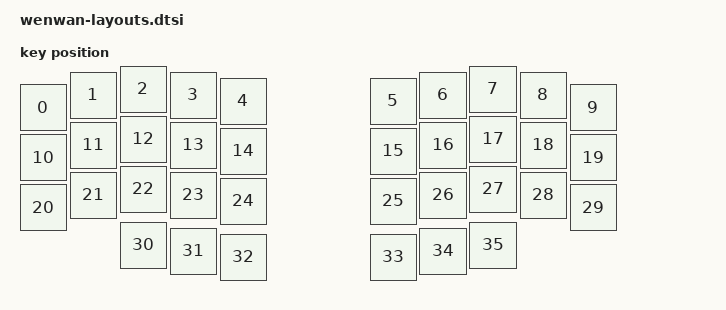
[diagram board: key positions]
// See https://zmk.dev/docs/development/hardware-integration/physical-layouts
// for how to configure this.

#include <physical_layouts.dtsi>

/ {
    default_layout: default_layout {
        compatible = "zmk,physical-layout";
        display-name = "Default Layout";
        transform = <&default_transform>;
        kscan = <&kscan0>;

        /*
         * wenwan 36键布局: 3x5 + 3拇指键 x 两侧
         * 单位: 0.01u (100 = 1u)
         *
         * |  Q  |  W  |  E  |  R  |  T  |   |  Y  |  U  |  I  |  O  |  P  |
         * |  A  |  S  |  D  |  F  |  G  |   |  H  |  J  |  K  |  L  |  ;  |
         * |  Z  |  X  |  C  |  V  |  B  |   |  N  |  M  |  ,  |  .  |  /  |
         *             | ESC | SPC | TAB |   | ENT | BSP | DEL |
         */
        keys  //                     w   h    x    y     rot    rx    ry
            // 左手第1行
            = <&key_physical_attrs 100 100    0   37       0     0     0>
            , <&key_physical_attrs 100 100  100   12       0     0     0>
            , <&key_physical_attrs 100 100  200    0       0     0     0>
            , <&key_physical_attrs 100 100  300   12       0     0     0>
            , <&key_physical_attrs 100 100  400   24       0     0     0>
            // 右手第1行
            , <&key_physical_attrs 100 100  700   24       0     0     0>
            , <&key_physical_attrs 100 100  800   12       0     0     0>
            , <&key_physical_attrs 100 100  900    0       0     0     0>
            , <&key_physical_attrs 100 100 1000   12       0     0     0>
            , <&key_physical_attrs 100 100 1100   37       0     0     0>
            // 左手第2行
            , <&key_physical_attrs 100 100    0  137       0     0     0>
            , <&key_physical_attrs 100 100  100  112       0     0     0>
            , <&key_physical_attrs 100 100  200  100       0     0     0>
            , <&key_physical_attrs 100 100  300  112       0     0     0>
            , <&key_physical_attrs 100 100  400  124       0     0     0>
            // 右手第2行
            , <&key_physical_attrs 100 100  700  124       0     0     0>
            , <&key_physical_attrs 100 100  800  112       0     0     0>
            , <&key_physical_attrs 100 100  900  100       0     0     0>
            , <&key_physical_attrs 100 100 1000  112       0     0     0>
            , <&key_physical_attrs 100 100 1100  137       0     0     0>
            // 左手第3行
            , <&key_physical_attrs 100 100    0  237       0     0     0>
            , <&key_physical_attrs 100 100  100  212       0     0     0>
            , <&key_physical_attrs 100 100  200  200       0     0     0>
            , <&key_physical_attrs 100 100  300  212       0     0     0>
            , <&key_physical_attrs 100 100  400  224       0     0     0>
            // 右手第3行
            , <&key_physical_attrs 100 100  700  224       0     0     0>
            , <&key_physical_attrs 100 100  800  212       0     0     0>
            , <&key_physical_attrs 100 100  900  200       0     0     0>
            , <&key_physical_attrs 100 100 1000  212       0     0     0>
            , <&key_physical_attrs 100 100 1100  237       0     0     0>
            // 左手拇指键
            , <&key_physical_attrs 100 100  200  312       0     0     0>
            , <&key_physical_attrs 100 100  300  324       0     0     0>
            , <&key_physical_attrs 100 100  400  336       0     0     0>
            // 右手拇指键
            , <&key_physical_attrs 100 100  700  336       0     0     0>
            , <&key_physical_attrs 100 100  800  324       0     0     0>
            , <&key_physical_attrs 100 100  900  312       0     0     0>
            ;
    };
};
